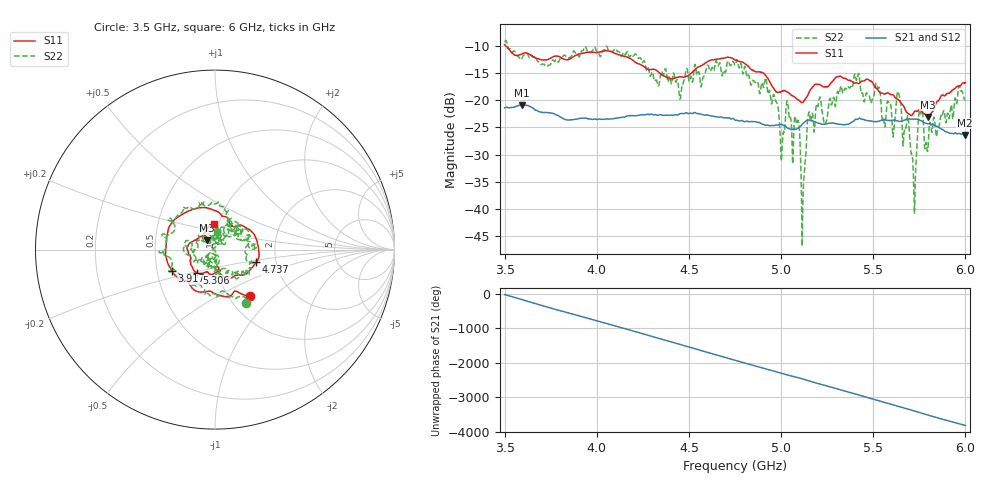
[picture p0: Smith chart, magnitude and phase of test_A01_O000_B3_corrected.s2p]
! Created with skrf 1.9.0 (http://scikit-rf.org).
# Hz S RI R 50.0
!freq ReS11 ImS11 ReS21 ImS21 ReS12 ImS12 ReS22 ImS22
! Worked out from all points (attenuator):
!   1601 points, 3.5 GHz to 6 GHz, reference 50 ohm
!   highest |S21| = -20.88 dB at 3.592 GHz (marker M1); lowest = -26.4 dB at 5.997 GHz (marker M2)
!   lowest |S11| = -23.1 dB at 5.797 GHz (marker M3), VSWR 1.15, Z = 45.3 + j4.81 ohm
!   |S11| at or under -10 dB: 3.506 GHz to end of sweep
!   |S22| runs from -46.8 to -9.0 dB; largest |S21 - S12| = 0.0014
!   S11 on the Smith chart (normalised r, x): 3.5 GHz: 1.26, -0.72; 3.917 GHz: 0.60, -0.16; 4.737 GHz: 1.58, -0.23; 5.306 GHz: 0.79, -0.21; 6 GHz: 0.94, +0.28
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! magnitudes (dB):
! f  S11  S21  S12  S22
! 3.5 GHz  -9.8  -21.4  -21.4  -9.3
! 3.592 GHz  -11.5  -20.9  -20.9  -12.4
! 3.917 GHz  -11.4  -23.3  -23.3  -11.0
! 4.334 GHz  -14.8  -22.8  -22.7  -17.4
! 4.737 GHz  -12.3  -23.3  -23.4  -13.0
! 4.75 GHz  -12.6  -23.7  -23.6  -13.6
! 4.969 GHz  -18.3  -24.6  -24.6  -20.1
! 5.005 GHz  -18.3  -24.5  -24.5  -29.1
! 5.034 GHz  -18.5  -25.1  -25.1  -20.2
! 5.086 GHz  -19.8  -25.3  -25.3  -24.3
! 5.119 GHz  -20.3  -24.3  -24.3  -38.2
! 5.145 GHz  -19.1  -23.6  -23.6  -23.1
! 5.167 GHz  -17.8  -23.7  -23.7  -22.6
! 5.306 GHz  -15.7  -24.4  -24.3  -18.4
! 5.584 GHz  -18.7  -23.7  -23.7  -20.4
! 5.611 GHz  -19.1  -23.6  -23.6  -25.9
! 5.641 GHz  -20.0  -23.9  -23.9  -19.2
! 5.72 GHz  -22.2  -23.5  -23.5  -36.6
! 5.755 GHz  -21.7  -23.7  -23.7  -22.2
! 5.797 GHz  -23.1  -24.3  -24.3  -29.1
! 5.997 GHz  -16.9  -26.4  -26.3  -19.9
! 6 GHz  -16.8  -26.4  -26.4  -19.9
